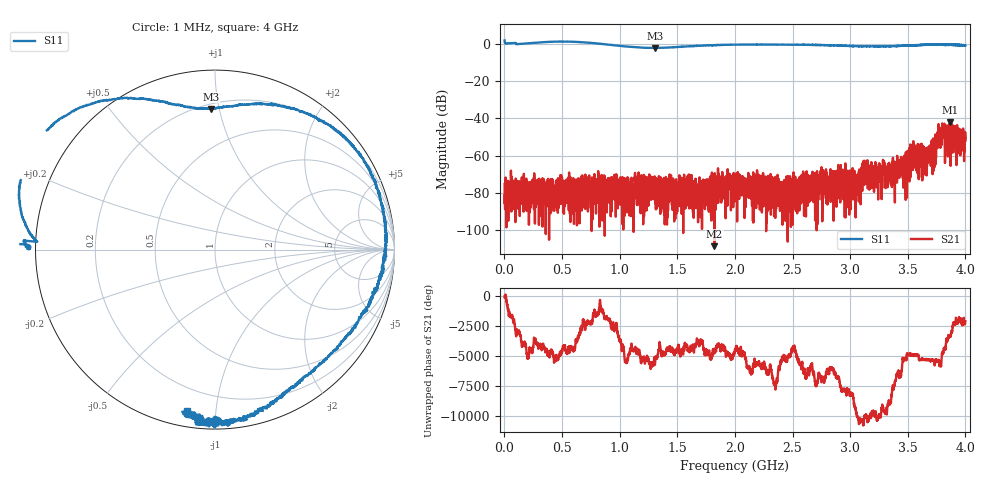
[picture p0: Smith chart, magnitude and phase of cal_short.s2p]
!Created with skrf (http://scikit-rf.org).
# GHz S RI R 50.0
!freq ReS11 ImS11 ReS21 ImS21 ReS12 ImS12 ReS22 ImS22
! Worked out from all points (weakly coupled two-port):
!   4000 points, 1 MHz to 4 GHz, reference 50 ohm
!   highest |S21| = -42.08 dB at 3.865 GHz (marker M1); lowest = -108.6 dB at 1.821 GHz (marker M2)
!   lowest |S11| = -2.1 dB at 1.309 GHz (marker M3), VSWR 8.28, Z = 11.6 + j47.2 ohm
!   |S11| at or under -10 dB: nowhere
!   S12 and S22 are empty: the file has one direction only
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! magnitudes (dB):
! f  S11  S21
! 1 MHz  1.9  -75.3
! 668 MHz  1.0  -86.1
! 1.309 GHz  -2.1  -73.5
! 1.334 GHz  -2.0  -75.7
! 1.608 GHz  -1.2  -76.6
! 1.683 GHz  -0.9  -80.2
! 1.821 GHz  -0.6  -108.6
! 2.001 GHz  -0.3  -76.0
! 2.348 GHz  -0.3  -84.0
! 2.667 GHz  -0.5  -75.5
! 2.911 GHz  -0.9  -70.0
! 3.019 GHz  -1.0  -73.6
! 3.061 GHz  -1.1  -70.3
! 3.126 GHz  -1.2  -63.0
! 3.223 GHz  -1.3  -70.1
! 3.334 GHz  -1.2  -67.8
! 3.473 GHz  -0.9  -61.5
! 3.538 GHz  -0.8  -58.6
! 3.703 GHz  -0.3  -57.1
! 3.77 GHz  -0.2  -49.7
! 3.865 GHz  -0.1  -42.1
! 4 GHz  -0.8  -51.9
